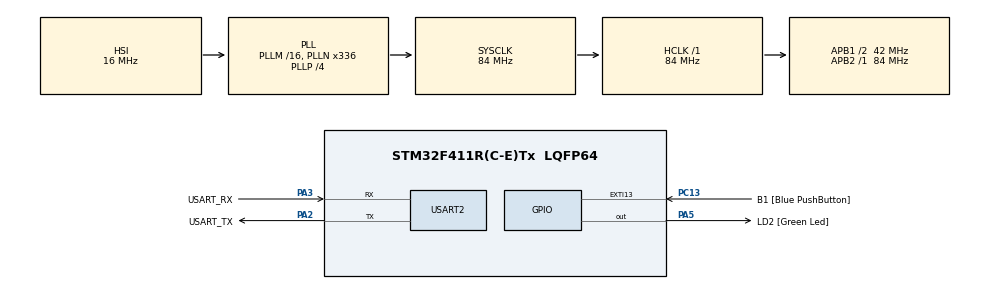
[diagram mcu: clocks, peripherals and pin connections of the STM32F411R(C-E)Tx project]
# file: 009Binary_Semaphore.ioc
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Mcu.Family=STM32F4
Mcu.Name=STM32F411R(C-E)Tx
Mcu.Package=LQFP64
NVIC.PriorityGroup=NVIC_PRIORITYGROUP_4
NVIC.TIM5_IRQn=true\:0\:0\:false\:false\:true\:false\:true
NVIC.TimeBase=TIM5_IRQn
NVIC.TimeBaseIP=TIM5
PA13.GPIO_Label=TMS
PA13.Signal=SYS_JTMS-SWDIO
PA14.GPIO_Label=TCK
PA14.Signal=SYS_JTCK-SWCLK
PA2.GPIO_Label=USART_TX
PA2.Mode=Asynchronous
PA2.Signal=USART2_TX
PA3.GPIO_Label=USART_RX
PA3.Mode=Asynchronous
PA3.Signal=USART2_RX
PA5.GPIO_Label=LD2 [Green Led]
PA5.Signal=GPIO_Output
PB3.GPIO_Label=SWO
PB3.Signal=SYS_JTDO-SWO
PC13-ANTI_TAMP.GPIO_Label=B1 [Blue PushButton]
PC13-ANTI_TAMP.GPIO_ModeDefaultEXTI=GPIO_MODE_IT_FALLING
PC13-ANTI_TAMP.Signal=GPXTI13
PC14-OSC32_IN.Signal=RCC_OSC32_IN
PC15-OSC32_OUT.Signal=RCC_OSC32_OUT
PH0\ -\ OSC_IN.Signal=RCC_OSC_IN
PH1\ -\ OSC_OUT.Signal=RCC_OSC_OUT
ProjectManager.HeapSize=0x200
ProjectManager.StackSize=0x400
ProjectManager.TargetToolchain=STM32CubeIDE
RCC.48MHZClocksFreq_Value=84000000
RCC.AHBFreq_Value=84000000
RCC.APB1CLKDivider=RCC_HCLK_DIV2
RCC.APB1Freq_Value=42000000
RCC.APB1TimFreq_Value=84000000
RCC.APB2Freq_Value=84000000
RCC.APB2TimFreq_Value=84000000
RCC.CortexFreq_Value=84000000
RCC.FLatency-AdvancedSettings=FLASH_LATENCY_2
RCC.HCLKFreq_Value=84000000
RCC.HSE_VALUE=8000000
RCC.HSI_VALUE=16000000
RCC.LSE_VALUE=32768
RCC.PLLN=336
RCC.PLLP=RCC_PLLP_DIV4
RCC.SYSCLKFreq_VALUE=84000000
RCC.SYSCLKSource=RCC_SYSCLKSOURCE_PLLCLK
RCC.VCOOutputFreq_Value=336000000
USART2.VirtualMode=VM_ASYNC
VP_SYS_VS_tim5.Mode=TIM5
board=NUCLEO-F411RE

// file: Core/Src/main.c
/* USER CODE BEGIN Header */
/**
  ******************************************************************************
  * @file           : main.c
  * @brief          : Main program body
  ******************************************************************************
  * @attention
  *
  * <h2><center>&copy; Copyright (c) 2022 STMicroelectronics.
  * All rights reserved.</center></h2>
  *
  * This software component is licensed by ST under BSD 3-Clause license,
  * the "License"; You may not use this file except in compliance with the
  * License. You may obtain a copy of the License at:
  *                        opensource.org/licenses/BSD-3-Clause
  *
  ******************************************************************************
  */
/* USER CODE END Header */
#include "main.h"

/* USER CODE BEGIN Includes */
#include <string.h>
#include <stdio.h>
#include <stdlib.h>
#include "FreeRTOS.h"
#include "task.h"
#include "semphr.h"
#include "queue.h"

/* USER CODE END Includes */

UART_HandleTypeDef huart2;

/* USER CODE BEGIN PV */
#define DWT_CTRL	(*(volatile uint32_t*)0xE0001000)

TaskHandle_t manager_task_handle;
TaskHandle_t employee_task_handle;

/* Declare a variable of type xSemaphoreHandle.  This is used to reference the
semaphore that is used to synchronize both manager and employee task */
xSemaphoreHandle xWork;

/* this is the queue which manager uses to put the work ticket id */
xQueueHandle xWorkQueue;

/* USER CODE END PV */

void SystemClock_Config(void);
static void MX_GPIO_Init(void);
static void MX_USART2_UART_Init(void);
/* USER CODE BEGIN PFP */

static void vManagerTask(void *param);
static void vEmployeeTask( void *param );
void printmsg(char *msg);

extern void SEGGER_UART_init(uint32_t);

/* USER CODE END PFP */

int main(void)
{
  /* USER CODE BEGIN 1 */
	BaseType_t status;
	char usr_msg[250];

  /* USER CODE END 1 */

  /* MCU Configuration--------------------------------------------------------*/

  /* Reset of all peripherals, Initializes the Flash interface and the Systick. */
  HAL_Init();

  /* Configure the system clock */
  SystemClock_Config();

  /* Initialize all configured peripherals */
  MX_GPIO_Init();
  MX_USART2_UART_Init();
  /* USER CODE BEGIN 2 */

  //SEGGER_UART_init(500000);

    //Cycle count enable
      DWT_CTRL |= (1 << 0);

  	SEGGER_SYSVIEW_Conf();
  	SEGGER_SYSVIEW_Start();

  	sprintf(usr_msg,"Demo of Binary semaphore usage between 2 Tasks \r\n");
	printmsg(usr_msg);

	/* Before a semaphore is used it must be explicitly created.
	     * In this example a binary semaphore is created . */
	    vSemaphoreCreateBinary( xWork );

		/* The queue is created to hold a maximum of 1 Element. */
	    xWorkQueue = xQueueCreate( 1, sizeof( unsigned int ) );

	    /* Check the semaphore and queue was created successfully. */
	    if( (xWork != NULL) && (xWorkQueue != NULL) )
	    {

			/* Create the 'Manager' task.  This is the task that will be synchronized with the Employee task.  The Manager task is created with a high priority  */
	        status = xTaskCreate(vManagerTask, "Manager", 200, NULL, 3, &manager_task_handle);
	        configASSERT(status == pdPASS);

	        /* Create a employee task with less priority than manager */
	        status = xTaskCreate(vEmployeeTask, "Employee", 200, NULL, 1,&employee_task_handle );
	        configASSERT(status == pdPASS);

	        /* Start the scheduler so the created tasks start executing. */
	        vTaskStartScheduler();
	    }

	    sprintf(usr_msg,"Queue/Sema create failed.. \r\n");
	    printmsg(usr_msg);

  /* USER CODE END 2 */

  /* Infinite loop */
  while (1)
  {

  }
}

void SystemClock_Config(void)
{
  RCC_OscInitTypeDef RCC_OscInitStruct = {0};
  RCC_ClkInitTypeDef RCC_ClkInitStruct = {0};

  /** Configure the main internal regulator output voltage
  */
  __HAL_RCC_PWR_CLK_ENABLE();
  __HAL_PWR_VOLTAGESCALING_CONFIG(PWR_REGULATOR_VOLTAGE_SCALE1);
  /** Initializes the RCC Oscillators according to the specified parameters
  * in the RCC_OscInitTypeDef structure.
  */
  RCC_OscInitStruct.OscillatorType = RCC_OSCILLATORTYPE_HSI;
  RCC_OscInitStruct.HSIState = RCC_HSI_ON;
  RCC_OscInitStruct.HSICalibrationValue = RCC_HSICALIBRATION_DEFAULT;
  RCC_OscInitStruct.PLL.PLLState = RCC_PLL_ON;
  RCC_OscInitStruct.PLL.PLLSource = RCC_PLLSOURCE_HSI;
  RCC_OscInitStruct.PLL.PLLM = 16;
  RCC_OscInitStruct.PLL.PLLN = 336;
  RCC_OscInitStruct.PLL.PLLP = RCC_PLLP_DIV4;
  RCC_OscInitStruct.PLL.PLLQ = 4;
  if (HAL_RCC_OscConfig(&RCC_OscInitStruct) != HAL_OK)
  {
    Error_Handler();
  }
  /** Initializes the CPU, AHB and APB buses clocks
  */
  RCC_ClkInitStruct.ClockType = RCC_CLOCKTYPE_HCLK|RCC_CLOCKTYPE_SYSCLK
                              |RCC_CLOCKTYPE_PCLK1|RCC_CLOCKTYPE_PCLK2;
  RCC_ClkInitStruct.SYSCLKSource = RCC_SYSCLKSOURCE_PLLCLK;
  RCC_ClkInitStruct.AHBCLKDivider = RCC_SYSCLK_DIV1;
  RCC_ClkInitStruct.APB1CLKDivider = RCC_HCLK_DIV2;
  RCC_ClkInitStruct.APB2CLKDivider = RCC_HCLK_DIV1;

  if (HAL_RCC_ClockConfig(&RCC_ClkInitStruct, FLASH_LATENCY_2) != HAL_OK)
  {
    Error_Handler();
  }
}

static void MX_USART2_UART_Init(void)
{

  huart2.Instance = USART2;
  huart2.Init.BaudRate = 115200;
  huart2.Init.WordLength = UART_WORDLENGTH_8B;
  huart2.Init.StopBits = UART_STOPBITS_1;
  huart2.Init.Parity = UART_PARITY_NONE;
  huart2.Init.Mode = UART_MODE_TX_RX;
  huart2.Init.HwFlowCtl = UART_HWCONTROL_NONE;
  huart2.Init.OverSampling = UART_OVERSAMPLING_16;
  if (HAL_UART_Init(&huart2) != HAL_OK)
  {
    Error_Handler();
  }

}

static void MX_GPIO_Init(void)
{
  GPIO_InitTypeDef GPIO_InitStruct = {0};

  /* GPIO Ports Clock Enable */
  __HAL_RCC_GPIOC_CLK_ENABLE();
  __HAL_RCC_GPIOH_CLK_ENABLE();
  __HAL_RCC_GPIOA_CLK_ENABLE();
  __HAL_RCC_GPIOB_CLK_ENABLE();

  /*Configure GPIO pin Output Level */
  HAL_GPIO_WritePin(LD2_GPIO_Port, LD2_Pin, GPIO_PIN_RESET);

  /*Configure GPIO pin : B1_Pin */
  GPIO_InitStruct.Pin = B1_Pin;
  GPIO_InitStruct.Mode = GPIO_MODE_IT_FALLING;
  GPIO_InitStruct.Pull = GPIO_NOPULL;
  HAL_GPIO_Init(B1_GPIO_Port, &GPIO_InitStruct);

  /*Configure GPIO pin : LD2_Pin */
  GPIO_InitStruct.Pin = LD2_Pin;
  GPIO_InitStruct.Mode = GPIO_MODE_OUTPUT_PP;
  GPIO_InitStruct.Pull = GPIO_NOPULL;
  GPIO_InitStruct.Speed = GPIO_SPEED_FREQ_LOW;
  HAL_GPIO_Init(LD2_GPIO_Port, &GPIO_InitStruct);

}

/* USER CODE BEGIN 4 */
void vManagerTask(void *param)
{
	char usr_msg[250];
	uint32_t ticket_ID;
	while(1)
	{
		ticket_ID = (rand()&0x1ff);
		if(xQueueSend(xWorkQueue,&ticket_ID,portMAX_DELAY)== pdTRUE)
		{
			xSemaphoreGive(xWork);
			taskYIELD();
		}else
			{
				sprintf(usr_msg,"Could not send data to Queue \r\n");
				printmsg(usr_msg);
			}
	}
}

void vEmployeeTask(void *param)
{
	char usr_msg[250];
	uint32_t ticket_ID;
	while(1)
	{
		xSemaphoreTake(xWork,portMAX_DELAY);
		if(xQueueReceive(xWorkQueue,&ticket_ID,0)==pdTRUE )
		{
			sprintf(usr_msg,"Working on ticket ID: %lu\r\n",ticket_ID);
			printmsg(usr_msg);
			vTaskDelay(ticket_ID);
		}else
			{
				sprintf(usr_msg,"Employee Task: Queue is empty, noting to do\r\n");
				printmsg(usr_msg);
			}
	}
}

void printmsg(char *msg)
{
	HAL_UART_Transmit(&huart2, (uint8_t*)msg, strlen((char*)msg),HAL_MAX_DELAY);
}

/* USER CODE END 4 */

void HAL_TIM_PeriodElapsedCallback(TIM_HandleTypeDef *htim)
{
  if (htim->Instance == TIM5) {
    HAL_IncTick();
  }
}

void Error_Handler(void)
{
}

/************************ (C) COPYRIGHT STMicroelectronics *****END OF FILE****/
